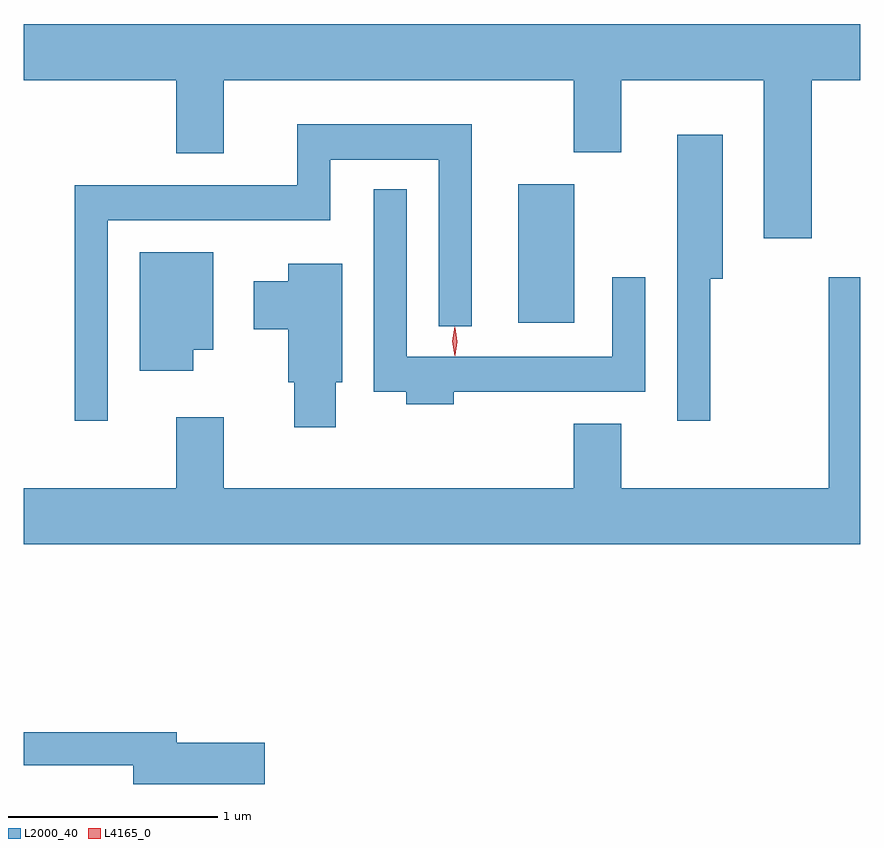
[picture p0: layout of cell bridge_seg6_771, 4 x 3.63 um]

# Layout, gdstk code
import gdstk
lib = gdstk.Library(unit=1e-6, precision=1e-09)
def R(c, l, rs):  # rectangles x0, y0, x1, y1
    for r in rs: c.add(gdstk.rectangle(r[:2], r[2:], *l))
def P(c, l, *ps):  # polygons
    for p in ps: c.add(gdstk.Polygon(p, *l))
L2000_40 = (2000, 40)
L4165_0 = (4165, 0)

bridge_seg6_771 = lib.new_cell('bridge_seg6_771')
R(bridge_seg6_771, L2000_40, [(404.696,1557.756,404.964,1558.419)])
P(bridge_seg6_771, L2000_40, [(406.099,1558.916),(406.332,1558.916),(406.332,1559.184),(402.332,1559.184),(402.332,1558.916),(403.061,1558.916),(403.061,1558.566),(403.289,1558.566),(403.289,1558.916),(404.961,1558.916),(404.961,1558.571),(405.189,1558.571),(405.189,1558.916),(405.871,1558.916),(405.871,1558.161),(406.099,1558.161)],
  [(402.734,1558.246),(403.799,1558.246),(403.799,1558.536),(404.316,1558.536),(404.316,1557.738),(404.474,1557.738),(404.474,1558.704),(403.641,1558.704),(403.641,1558.414),(402.576,1558.414),(402.576,1557.288),(402.734,1557.288)],
  [(405.614,1557.966),(405.674,1557.966),(405.674,1558.654),(405.456,1558.654),(405.456,1557.288),(405.614,1557.288)],
  [(404.389,1557.426),(405.304,1557.426),(405.304,1557.973),(405.146,1557.973),(405.146,1557.594),(404.164,1557.594),(404.164,1558.393),(404.006,1558.393),(404.006,1557.426),(404.161,1557.426),(404.161,1557.366),(404.389,1557.366)],
  [(403.144,1557.626),(403.239,1557.626),(403.239,1558.094),(402.886,1558.094),(402.886,1557.526),(403.144,1557.526)],
  [(403.824,1557.471),(403.854,1557.471),(403.854,1558.039),(403.596,1558.039),(403.596,1557.954),(403.431,1557.954),(403.431,1557.726),(403.596,1557.726),(403.596,1557.471),(403.626,1557.471),(403.626,1557.256),(403.824,1557.256)],
  [(406.332,1557.974),(406.181,1557.974),(406.181,1556.964),(405.189,1556.964),(405.189,1557.274),(404.961,1557.274),(404.961,1556.964),(403.289,1556.964),(403.289,1557.304),(403.061,1557.304),(403.061,1556.964),(402.332,1556.964),(402.332,1556.696),(406.332,1556.696)],
  [(403.484,1555.749),(403.064,1555.749),(403.064,1555.799),(402.332,1555.799),(402.332,1555.641),(402.856,1555.641),(402.856,1555.551),(403.484,1555.551)])
P(bridge_seg6_771, L4165_0, [(404.392,1557.597),(404.392,1557.598),(404.382,1557.667),(404.392,1557.736),(404.392,1557.736),(404.393,1557.736),(404.402,1557.667),(404.393,1557.598)],
  [(404.395,1557.599),(404.394,1557.6),(404.385,1557.666),(404.394,1557.732),(404.395,1557.733),(404.396,1557.732),(404.405,1557.666),(404.396,1557.6)])

lib.write_gds('bridge_seg6_771.gds')
